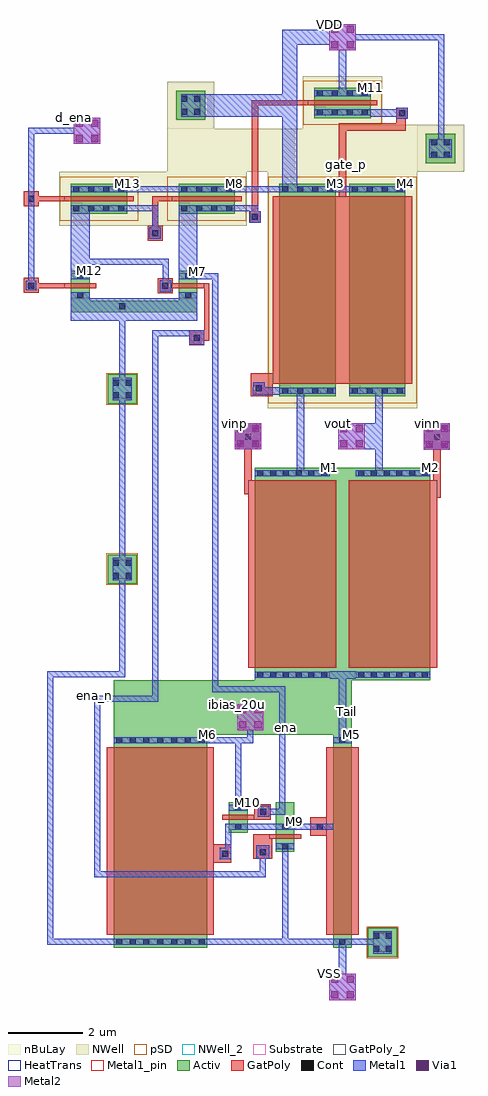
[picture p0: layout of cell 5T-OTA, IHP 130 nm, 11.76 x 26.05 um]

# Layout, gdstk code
from math import pi, radians
import gdstk
lib = gdstk.Library(unit=1e-6, precision=1e-09)
def R(c, l, rs):  # rectangles x0, y0, x1, y1
    for r in rs: c.add(gdstk.rectangle(r[:2], r[2:], *l))
def A(c, l, x, y, w, h, nx, ny, dx, dy):  # array of equal rectangles
    R(c, l, [(x+i*dx, y+j*dy, x+i*dx+w, y+j*dy+h) for i in range(nx) for j in range(ny)])
def P(c, l, *ps):  # polygons
    for p in ps: c.add(gdstk.Polygon(p, *l))
Activ = (1, 0)
GatPoly = (5, 0)
GatPoly_2 = (5, 2)
Cont = (6, 0)
Metal1 = (8, 0)
Metal1_pin = (8, 2)
Metal2 = (10, 0)
pSD = (14, 0)
Via1 = (19, 0)
NWell = (31, 0)
NWell_2 = (31, 2)
nBuLay = (32, 0)
Substrate = (40, 0)
HeatTrans = (51, 0)

vdd = lib.new_cell('VDD')
R(vdd, Metal1, [(-0.35,-0.35,0.35,0.35)])
R(vdd, Metal2, [(-0.35,-0.35,0.35,0.35)])
R(vdd, Via1, [(-0.3,-0.3,-0.11,-0.11), (0.11,-0.3,0.3,-0.11), (-0.3,0.11,-0.11,0.3), (0.11,0.11,0.3,0.3)])

pmos = lib.new_cell('pmos')
R(pmos, Activ, [(0,0,0.3,0.3), (0,0,0.81,1.5), (0.51,0,0.81,0.3)])
R(pmos, GatPoly, [(0.34,-0.18,0.47,1.68), (0.34,-0.18,0.47,1.68)])
A(pmos, Cont, 0.07, 0.07, 0.16, 0.16, 1, 4, 0, 0.4)
A(pmos, Cont, 0.58, 0.07, 0.16, 0.16, 1, 4, 0, 0.4)
R(pmos, Metal1, [(0.07,0,0.23,1.5), (0.07,0,0.23,1.5), (0.58,0,0.74,1.5), (0.58,0,0.74,1.5)])
R(pmos, pSD, [(-0.18,-0.3,0.99,1.8)])
R(pmos, NWell, [(-0.31,-0.31,1.12,1.81)])
R(pmos, Substrate, [(0.51,0,0.81,0.3)])
R(pmos, HeatTrans, [(0.34,-0.18,0.47,1.68)])
pmos.add(gdstk.Label('pmos', (0.405,0.75), layer=63, texttype=0))
pmos.add(gdstk.Label('pmos', (0.405,0.75), layer=51, texttype=0))

pmos_2 = lib.new_cell('pmos$2')
R(pmos_2, Activ, [(0,0,0.3,0.3), (0,0,5.68,1.5), (5.38,0,5.68,0.3)])
R(pmos_2, GatPoly, [(0.34,-0.18,5.34,1.68), (0.34,-0.18,5.34,1.68)])
A(pmos_2, Cont, 0.07, 0.07, 0.16, 0.16, 1, 4, 0, 0.4)
A(pmos_2, Cont, 5.45, 0.07, 0.16, 0.16, 1, 4, 0, 0.4)
R(pmos_2, Metal1, [(0.07,0,0.23,1.5), (0.07,0,0.23,1.5), (5.45,0,5.61,1.5), (5.45,0,5.61,1.5)])
R(pmos_2, pSD, [(-0.18,-0.3,5.86,1.8)])
R(pmos_2, NWell, [(-0.31,-0.31,5.99,1.81)])
R(pmos_2, Substrate, [(5.38,0,5.68,0.3)])
R(pmos_2, HeatTrans, [(0.34,-0.18,5.34,1.68)])
pmos_2.add(gdstk.Label('pmos', (2.84,0.75), layer=63, texttype=0))
pmos_2.add(gdstk.Label('pmos', (2.84,0.75), layer=51, texttype=0))

nmos_1 = lib.new_cell('nmos$1')
R(nmos_1, Activ, [(0,0,0.3,0.3), (0,0,5.68,2), (5.38,0,5.68,0.3)])
R(nmos_1, GatPoly, [(0.34,-0.18,5.34,2.18)])
R(nmos_1, GatPoly_2, [(0.34,-0.18,5.34,2.18)])
A(nmos_1, Cont, 0.07, 0.07, 0.16, 0.16, 1, 6, 0, 0.34)
A(nmos_1, Cont, 5.45, 0.07, 0.16, 0.16, 1, 6, 0, 0.34)
R(nmos_1, Metal1, [(0.07,0,0.23,2), (5.45,0,5.61,2)])
R(nmos_1, Metal1_pin, [(0.07,0,0.23,2), (5.45,0,5.61,2)])
R(nmos_1, HeatTrans, [(0.34,-0.18,5.34,2.18)])
nmos_1.add(gdstk.Label('nmos', (2.84,1), layer=63, texttype=0))
nmos_1.add(gdstk.Label('nmos', (2.84,1), layer=51, texttype=0))

nmos = lib.new_cell('nmos')
R(nmos, Activ, [(0,0,0.3,0.3), (0,0,5.68,2), (5.38,0,5.68,0.3)])
R(nmos, GatPoly, [(0.34,-0.18,5.34,2.18)])
R(nmos, GatPoly_2, [(0.34,-0.18,5.34,2.18)])
A(nmos, Cont, 0.07, 0.07, 0.16, 0.16, 1, 6, 0, 0.34)
A(nmos, Cont, 5.45, 0.07, 0.16, 0.16, 1, 6, 0, 0.34)
R(nmos, Metal1, [(0.07,0,0.23,2), (5.45,0,5.61,2)])
R(nmos, Metal1_pin, [(0.07,0,0.23,2), (5.45,0,5.61,2)])
R(nmos, HeatTrans, [(0.34,-0.18,5.34,2.18)])
nmos.add(gdstk.Label('nmos', (2.84,1), layer=63, texttype=0))
nmos.add(gdstk.Label('nmos', (2.84,1), layer=51, texttype=0))

nmos_3 = lib.new_cell('nmos$3')
R(nmos_3, Activ, [(0,0,0.3,0.3), (0,0,5.68,0.5), (5.38,0,5.68,0.3)])
R(nmos_3, GatPoly, [(0.34,-0.18,5.34,0.68)])
R(nmos_3, GatPoly_2, [(0.34,-0.18,5.34,0.68)])
R(nmos_3, Cont, [(0.07,0.17,0.23,0.33), (5.45,0.17,5.61,0.33)])
R(nmos_3, Metal1, [(0.07,0,0.23,0.5), (5.45,0,5.61,0.5)])
R(nmos_3, Metal1_pin, [(0.07,0,0.23,0.5), (5.45,0,5.61,0.5)])
R(nmos_3, HeatTrans, [(0.34,-0.18,5.34,0.68)])
nmos_3.add(gdstk.Label('nmos', (2.84,0.25), layer=63, texttype=0))
nmos_3.add(gdstk.Label('nmos', (2.84,0.25), layer=51, texttype=0))

nmos_2 = lib.new_cell('nmos$2')
R(nmos_2, Activ, [(0,0,0.3,0.3), (0,0,0.81,0.5), (0.51,0,0.81,0.3)])
R(nmos_2, GatPoly, [(0.34,-0.18,0.47,0.68)])
R(nmos_2, GatPoly_2, [(0.34,-0.18,0.47,0.68)])
R(nmos_2, Cont, [(0.07,0.17,0.23,0.33), (0.58,0.17,0.74,0.33)])
R(nmos_2, Metal1, [(0.07,0,0.23,0.5), (0.58,0,0.74,0.5)])
R(nmos_2, Metal1_pin, [(0.07,0,0.23,0.5), (0.58,0,0.74,0.5)])
R(nmos_2, HeatTrans, [(0.34,-0.18,0.47,0.68)])
nmos_2.add(gdstk.Label('nmos', (0.405,0.25), layer=63, texttype=0))
nmos_2.add(gdstk.Label('nmos', (0.405,0.25), layer=51, texttype=0))

nmos_6 = lib.new_cell('nmos$6')
R(nmos_6, Activ, [(0,0,0.3,0.3), (0,0,5.68,2.5), (5.38,0,5.68,0.3)])
R(nmos_6, GatPoly, [(0.34,-0.18,5.34,2.68)])
R(nmos_6, GatPoly_2, [(0.34,-0.18,5.34,2.68)])
A(nmos_6, Cont, 0.07, 0.07, 0.16, 0.16, 1, 3, 0, 0.365)
A(nmos_6, Cont, 5.45, 0.07, 0.16, 0.16, 1, 3, 0, 0.365)
A(nmos_6, Cont, 0.07, 1.17, 0.16, 0.16, 1, 3, 0, 0.365)
A(nmos_6, Cont, 5.45, 1.17, 0.16, 0.16, 1, 3, 0, 0.365)
R(nmos_6, Cont, [(0.07,2.27,0.23,2.43), (5.45,2.27,5.61,2.43)])
R(nmos_6, Metal1, [(0.07,0,0.23,2.5), (5.45,0,5.61,2.5)])
R(nmos_6, Metal1_pin, [(0.07,0,0.23,2.5), (5.45,0,5.61,2.5)])
R(nmos_6, HeatTrans, [(0.34,-0.18,5.34,2.68)])
nmos_6.add(gdstk.Label('nmos', (2.84,1.25), layer=63, texttype=0))
nmos_6.add(gdstk.Label('nmos', (2.84,1.25), layer=51, texttype=0))

pmos_5 = lib.new_cell('pmos$5')
R(pmos_5, Activ, [(0,0,0.3,0.3), (0,0,0.81,1.5), (0.51,0,0.81,0.3)])
R(pmos_5, GatPoly, [(0.34,-0.18,0.47,1.68), (0.34,-0.18,0.47,1.68)])
A(pmos_5, Cont, 0.07, 0.07, 0.16, 0.16, 1, 4, 0, 0.4)
A(pmos_5, Cont, 0.58, 0.07, 0.16, 0.16, 1, 4, 0, 0.4)
R(pmos_5, Metal1, [(0.07,0,0.23,1.5), (0.07,0,0.23,1.5), (0.58,0,0.74,1.5), (0.58,0,0.74,1.5)])
R(pmos_5, pSD, [(-0.18,-0.3,0.99,1.8)])
R(pmos_5, NWell, [(-0.31,-0.31,1.12,1.81)])
R(pmos_5, Substrate, [(0.51,0,0.81,0.3)])
R(pmos_5, HeatTrans, [(0.34,-0.18,0.47,1.68)])
pmos_5.add(gdstk.Label('pmos', (0.405,0.75), layer=63, texttype=0))
pmos_5.add(gdstk.Label('pmos', (0.405,0.75), layer=51, texttype=0))

pmos_4 = lib.new_cell('pmos$4')
R(pmos_4, Activ, [(0,0,0.3,0.3), (0,0,0.81,1.5), (0.51,0,0.81,0.3)])
R(pmos_4, GatPoly, [(0.34,-0.18,0.47,1.68), (0.34,-0.18,0.47,1.68)])
A(pmos_4, Cont, 0.07, 0.07, 0.16, 0.16, 1, 4, 0, 0.4)
A(pmos_4, Cont, 0.58, 0.07, 0.16, 0.16, 1, 4, 0, 0.4)
R(pmos_4, Metal1, [(0.07,0,0.23,1.5), (0.07,0,0.23,1.5), (0.58,0,0.74,1.5), (0.58,0,0.74,1.5)])
R(pmos_4, pSD, [(-0.18,-0.3,0.99,1.8)])
R(pmos_4, NWell, [(-0.31,-0.31,1.12,1.81)])
R(pmos_4, Substrate, [(0.51,0,0.81,0.3)])
R(pmos_4, HeatTrans, [(0.34,-0.18,0.47,1.68)])
pmos_4.add(gdstk.Label('pmos', (0.405,0.75), layer=63, texttype=0))
pmos_4.add(gdstk.Label('pmos', (0.405,0.75), layer=51, texttype=0))

nmos_7 = lib.new_cell('nmos$7')
R(nmos_7, Activ, [(0,0,0.3,0.3), (0,0,0.81,0.5), (0.51,0,0.81,0.3)])
R(nmos_7, GatPoly, [(0.34,-0.18,0.47,0.68)])
R(nmos_7, GatPoly_2, [(0.34,-0.18,0.47,0.68)])
R(nmos_7, Cont, [(0.07,0.17,0.23,0.33), (0.58,0.17,0.74,0.33)])
R(nmos_7, Metal1, [(0.07,0,0.23,0.5), (0.58,0,0.74,0.5)])
R(nmos_7, Metal1_pin, [(0.07,0,0.23,0.5), (0.58,0,0.74,0.5)])
R(nmos_7, HeatTrans, [(0.34,-0.18,0.47,0.68)])
nmos_7.add(gdstk.Label('nmos', (0.405,0.25), layer=63, texttype=0))
nmos_7.add(gdstk.Label('nmos', (0.405,0.25), layer=51, texttype=0))

nmos_4 = lib.new_cell('nmos$4')
R(nmos_4, Activ, [(0,0,0.3,0.3), (0,0,0.81,0.5), (0.51,0,0.81,0.3)])
R(nmos_4, GatPoly, [(0.34,-0.18,0.47,0.68)])
R(nmos_4, GatPoly_2, [(0.34,-0.18,0.47,0.68)])
R(nmos_4, Cont, [(0.07,0.17,0.23,0.33), (0.58,0.17,0.74,0.33)])
R(nmos_4, Metal1, [(0.07,0,0.23,0.5), (0.58,0,0.74,0.5)])
R(nmos_4, Metal1_pin, [(0.07,0,0.23,0.5), (0.58,0,0.74,0.5)])
R(nmos_4, HeatTrans, [(0.34,-0.18,0.47,0.68)])
nmos_4.add(gdstk.Label('nmos', (0.405,0.25), layer=63, texttype=0))
nmos_4.add(gdstk.Label('nmos', (0.405,0.25), layer=51, texttype=0))

nmos_5 = lib.new_cell('nmos$5')
R(nmos_5, Activ, [(0,0,0.3,0.3), (0,0,0.81,0.5), (0.51,0,0.81,0.3)])
R(nmos_5, GatPoly, [(0.34,-0.18,0.47,0.68)])
R(nmos_5, GatPoly_2, [(0.34,-0.18,0.47,0.68)])
R(nmos_5, Cont, [(0.07,0.17,0.23,0.33), (0.58,0.17,0.74,0.33)])
R(nmos_5, Metal1, [(0.07,0,0.23,0.5), (0.58,0,0.74,0.5)])
R(nmos_5, Metal1_pin, [(0.07,0,0.23,0.5), (0.58,0,0.74,0.5)])
R(nmos_5, HeatTrans, [(0.34,-0.18,0.47,0.68)])
nmos_5.add(gdstk.Label('nmos', (0.405,0.25), layer=63, texttype=0))
nmos_5.add(gdstk.Label('nmos', (0.405,0.25), layer=51, texttype=0))

ntap1 = lib.new_cell('ntap1')
R(ntap1, Activ, [(0,0,0.78,0.78)])
R(ntap1, Cont, [(0.14,0.14,0.3,0.3), (0.48,0.14,0.64,0.3), (0.14,0.48,0.3,0.64), (0.48,0.48,0.64,0.64)])
R(ntap1, Metal1, [(0.14,0.09,0.64,0.69)])
R(ntap1, Metal1_pin, [(0.14,0.09,0.64,0.69), (0.14,0.14,0.64,0.64)])
R(ntap1, NWell, [(-0.24,-0.24,1.02,1.02), (0,0,0.78,0.78)])
R(ntap1, NWell_2, [(0,0,0.78,0.78)])
R(ntap1, nBuLay, [(-0.24,-0.24,1.02,1.02)])
ntap1.add(gdstk.Label('well', (0.39,0.01), layer=31, texttype=0))
ntap1.add(gdstk.Label('well', (0.39,0.01), layer=63, texttype=0))

pmos_3 = lib.new_cell('pmos$3')
R(pmos_3, Activ, [(0,0,0.3,0.3), (0,0,5.68,1.5), (5.38,0,5.68,0.3)])
R(pmos_3, GatPoly, [(0.34,-0.18,5.34,1.68), (0.34,-0.18,5.34,1.68)])
A(pmos_3, Cont, 0.07, 0.07, 0.16, 0.16, 1, 4, 0, 0.4)
A(pmos_3, Cont, 5.45, 0.07, 0.16, 0.16, 1, 4, 0, 0.4)
R(pmos_3, Metal1, [(0.07,0,0.23,1.5), (0.07,0,0.23,1.5), (5.45,0,5.61,1.5), (5.45,0,5.61,1.5)])
R(pmos_3, pSD, [(-0.18,-0.3,5.86,1.8)])
R(pmos_3, NWell, [(-0.31,-0.31,5.99,1.81)])
R(pmos_3, Substrate, [(5.38,0,5.68,0.3)])
R(pmos_3, HeatTrans, [(0.34,-0.18,5.34,1.68)])
pmos_3.add(gdstk.Label('pmos', (2.84,0.75), layer=63, texttype=0))
pmos_3.add(gdstk.Label('pmos', (2.84,0.75), layer=51, texttype=0))

ptap1 = lib.new_cell('ptap1')
R(ptap1, Activ, [(0,0,0.78,0.78)])
R(ptap1, Cont, [(0.14,0.14,0.3,0.3), (0.48,0.14,0.64,0.3), (0.14,0.48,0.3,0.64), (0.48,0.48,0.64,0.64)])
R(ptap1, Metal1, [(0.14,0.09,0.64,0.69), (0.14,0.14,0.64,0.64)])
R(ptap1, Metal1_pin, [(0.14,0.14,0.64,0.64)])
R(ptap1, pSD, [(-0.03,-0.03,0.81,0.81)])
R(ptap1, Substrate, [(0,0,0.78,0.78)])
ptap1.add(gdstk.Label('sub!', (0.39,0.01), layer=63, texttype=0))
ptap1.add(gdstk.Label('sub!', (0.39,0.01), layer=40, texttype=0))

c_5t_ota = lib.new_cell('5T-OTA')
R(c_5t_ota, Activ, [(8.02,-4.93,8.52,-4.42), (3.69,-2.62,9.55,-1.17), (9.55,-2.62,10.05,-1.17), (9.46,-1.17,10.15,4.51), (2.55,8.65,5.93,8.96)])
R(c_5t_ota, GatPoly, [(6.37,-6.04,6.83,-5.54), (7.42,-5.93,7.92,-5.27), (8.935,-5.32,9.435,-4.82), (7.45,-4.89,7.89,-4.47), (11.97,4.99,12.67,5.69), (6.93,5,7.63,5.7), (7.35,6.41,7.94,7.03), (5.71,7.78,6.11,8.18), (6.11,7.9,6.24,9.43), (4.87,9.165,5.27,9.565), (1.295,9.175,1.695,9.575), (1.41,9.3,2.37,9.43), (4.6,10.57,5,10.97), (7.31,11.045,7.62,11.355), (7.38,11.35,7.55,14.18), (1.3,11.48,1.7,11.88), (1.41,11.62,2.37,11.75), (11.24,13.7,11.29,13.82), (11.24,13.82,11.54,14.12), (7.38,14.18,8.87,14.31)])
P(c_5t_ota, GatPoly, [(4.72,10.69),(4.72,11.75),(5.25,11.75),(5.25,11.62),(4.88,11.62),(4.88,10.69)])
R(c_5t_ota, Cont, [(6.59,-5.88,6.75,-5.72), (7.59,-5.84,7.75,-5.68), (9.11,-5.16,9.27,-5), (7.6,-4.76,7.76,-4.6), (12.25,5.235,12.41,5.395), (7.2,5.255,7.36,5.415), (7.49,6.55,7.65,6.71), (5.835,7.9,5.995,8.06), (3.84,8.73,4,8.89), (4.995,9.285,5.155,9.445), (1.41,9.29,1.57,9.45), (4.72,10.69,4.88,10.85), (7.385,11.12,7.545,11.28), (1.41,11.6,1.57,11.76), (11.31,13.89,11.47,14.05)])
R(c_5t_ota, Metal1, [(6.53,-5.94,6.83,-5.64), (7.5,-5.93,7.84,-5.57), (7.54,-4.81,7.84,-4.51), (7.6,-4.76,7.76,-4.6), (10.39,5,10.67,5.7), (7.42,6.49,7.72,6.79), (5.71,7.785,6.11,8.18), (2.55,8.43,3.84,9.03), (4,8.43,5.93,9.03), (4.925,9.21,5.225,9.51), (1.35,9.24,1.63,9.5), (2.55,9.7,3.05,11.35), (5.43,9.7,5.93,11.35), (4.65,10.62,4.95,10.92), (7.32,11.05,7.62,11.35), (9.62,11.86,9.98,12.02), (11.24,13.82,11.54,14.12), (11.24,13.82,11.54,14.12), (11.24,13.82,11.54,14.12), (6,13.88,8.2,14.48)])
R(c_5t_ota, NWell, [(4.36,10.97,5.12,12.4), (5.12,12.4,8.74,13.55), (8.74,12.4,10.86,13.53), (10.86,12.4,11.79,13.66)])
c_5t_ota.add(gdstk.FlexPath([(5.08,9.51),(5.08,10),(3.05,10),(3.05,10)], 0.16, ends="flush", simple_path=True, layer=8, datatype=0))  # Metal1
c_5t_ota.add(gdstk.FlexPath([(4.81,7.88),(4.81,8.1),(5.71,8.1),(5.71,8.1)], 0.16, ends="flush", simple_path=True, layer=8, datatype=0))  # Metal1
c_5t_ota.add(gdstk.FlexPath([(10.15,16),(12.44,16),(12.44,13.28),(12.44,13.28)], 0.16, ends="flush", simple_path=True, layer=8, datatype=0))  # Metal1
c_5t_ota.add(gdstk.FlexPath([(10.05,-8.15),(10.62,-8.15)], 0.16, ends="flush", simple_path=True, layer=8, datatype=0))  # Metal1
c_5t_ota.add(gdstk.FlexPath([(9.8,15.65),(9.8,14.42),(9.8,14.42)], 0.2, ends="flush", simple_path=True, layer=8, datatype=0))  # Metal1
c_5t_ota.add(gdstk.FlexPath([(9.45,16),(8.4,16),(8.4,12.02),(8.4,12.02),(8.4,12.02)], 0.4, ends="flush", simple_path=True, layer=8, datatype=0))  # Metal1
c_5t_ota.add(gdstk.FlexPath([(10.55,13.97),(11.49,13.97)], 0.2, ends="flush", simple_path=True, layer=8, datatype=0))  # Metal1
c_5t_ota.add(gdstk.FlexPath([(8.12,6.56),(7.4,6.56),(7.4,6.56),(7.4,6.56),(7.4,6.56)], 0.2, ends="flush", simple_path=True, layer=8, datatype=0))  # Metal1
c_5t_ota.add(gdstk.FlexPath([(10.77,6.48),(10.77,4.44),(10.77,4.44)], 0.2, ends="flush", simple_path=True, layer=8, datatype=0))  # Metal1
c_5t_ota.add(gdstk.FlexPath([(8.68,6.48),(8.68,4.43),(8.68,4.43)], 0.2, ends="flush", simple_path=True, layer=8, datatype=0))  # Metal1
c_5t_ota.add(gdstk.FlexPath([(10.15,-1.02),(9.46,-1.02)], 0.2, ends="flush", simple_path=True, layer=8, datatype=0))  # Metal1
c_5t_ota.add(gdstk.FlexPath([(9.8,-1.12),(9.8,-2.85),(9.8,-2.85)], 0.2, ends="flush", simple_path=True, layer=8, datatype=0))  # Metal1
c_5t_ota.add(gdstk.FlexPath([(9.8,-9),(9.8,-8.23)], 0.2, ends="flush", simple_path=True, layer=8, datatype=0))  # Metal1
c_5t_ota.add(gdstk.FlexPath([(8.52,-5.08),(9.55,-5.08)], 0.16, ends="flush", simple_path=True, layer=8, datatype=0))  # Metal1
c_5t_ota.add(gdstk.FlexPath([(8.27,-5.67),(8.27,-8.15),(9.55,-8.15)], 0.16, ends="flush", simple_path=True, layer=8, datatype=0))  # Metal1
c_5t_ota.add(gdstk.FlexPath([(8.19,-8.15),(6.19,-8.15)], 0.16, ends="flush", simple_path=True, layer=8, datatype=0))  # Metal1
c_5t_ota.add(gdstk.FlexPath([(7.34,-2.77),(7.34,-2.5)], 0.16, ends="flush", simple_path=True, layer=8, datatype=0))  # Metal1
c_5t_ota.add(gdstk.FlexPath([(8.12,11.94),(6.93,11.94)], 0.16, ends="flush", simple_path=True, layer=8, datatype=0))  # Metal1
c_5t_ota.add(gdstk.FlexPath([(5.43,11.94),(4.05,11.94),(4.05,11.94)], 0.16, ends="flush", simple_path=True, layer=8, datatype=0))  # Metal1
c_5t_ota.add(gdstk.FlexPath([(6.93,11.43),(7.55,11.43)], 0.16, ends="flush", simple_path=True, layer=8, datatype=0))  # Metal1
c_5t_ota.add(gdstk.FlexPath([(4.05,11.43),(4.8,11.43),(4.8,10.69)], 0.16, ends="flush", simple_path=True, layer=8, datatype=0))  # Metal1
c_5t_ota.add(gdstk.FlexPath([(4.81,6.92),(4.81,7.88)], 0.16, ends="flush", simple_path=True, layer=8, datatype=0))  # Metal1
c_5t_ota.add(gdstk.FlexPath([(6.4,6.2),(6.4,-1.44)], 0.16, ends="flush", simple_path=True, layer=8, datatype=0))  # Metal1
c_5t_ota.add(gdstk.FlexPath([(3.92,8.43),(3.92,9.03)], 0.16, ends="flush", simple_path=True, layer=8, datatype=0))  # Metal1
c_5t_ota.add(gdstk.FlexPath([(3.92,8.43),(3.92,-1),(2,-1),(2,-8.15),(3.69,-8.15)], 0.16, ends="flush", simple_path=True, layer=8, datatype=0))  # Metal1
c_5t_ota.add(gdstk.FlexPath([(6.32,-1.4),(8.2,-1.4),(8.2,-3)], 0.16, ends="flush", simple_path=True, layer=8, datatype=0))  # Metal1
c_5t_ota.add(gdstk.FlexPath([(8.2,-3),(8.2,-4.68),(7.76,-4.68)], 0.16, ends="flush", simple_path=True, layer=8, datatype=0))  # Metal1
c_5t_ota.add(gdstk.FlexPath([(6.59,-5.8),(6.75,-5.8),(6.75,-5)], 0.16, ends="flush", simple_path=True, layer=8, datatype=0))  # Metal1
c_5t_ota.add(gdstk.FlexPath([(7.02,-4.49),(7.02,-2.77),(6.19,-2.77)], 0.16, ends="flush", simple_path=True, layer=8, datatype=0))  # Metal1
c_5t_ota.add(gdstk.FlexPath([(7.42,-2.77),(7.02,-2.77)], 0.16, ends="flush", simple_path=True, layer=8, datatype=0))  # Metal1
c_5t_ota.add(gdstk.FlexPath([(7.27,-5.08),(8.02,-5.08)], 0.16, ends="flush", simple_path=True, layer=8, datatype=0))  # Metal1
c_5t_ota.add(gdstk.FlexPath([(6.4,6.2),(6.4,9.62),(5.93,9.62)], 0.16, ends="flush", simple_path=True, layer=8, datatype=0))  # Metal1
c_5t_ota.add(gdstk.FlexPath([(1.49,9.29),(1.49,13.5),(2.63,13.5)], 0.16, ends="flush", simple_path=True, layer=8, datatype=0))  # Metal1
c_5t_ota.add(gdstk.FlexPath([(7.67,-5.93),(7.67,-6.35),(3.25,-6.35),(3.25,-1.66),(4.81,-1.66),(4.81,6.92)], 0.16, ends="flush", simple_path=True, layer=8, datatype=0))  # Metal1
c_5t_ota.add(gdstk.FlexPath([(9.8,11.75),(9.8,13.6),(11.39,13.6),(11.39,14.07)], 0.2, ends="flush", simple_path=True, layer=5, datatype=0))  # GatPoly
c_5t_ota.add(gdstk.FlexPath([(7.28,5.7),(7.28,3.8)], 0.2, ends="flush", simple_path=True, layer=5, datatype=0))  # GatPoly
c_5t_ota.add(gdstk.FlexPath([(12.33,5.61),(12.33,3.71)], 0.2, ends="flush", simple_path=True, layer=5, datatype=0))  # GatPoly
c_5t_ota.add(gdstk.Reference(vdd, (9.8,16), rotation=3*pi/2))
c_5t_ota.add(gdstk.Reference(pmos, (9.05,14.65), rotation=3*pi/2))
c_5t_ota.add(gdstk.Reference(pmos_2, (8.12,12.09), rotation=3*pi/2))
c_5t_ota.add(gdstk.Reference(nmos_1, (7.46,4.51), rotation=3*pi/2))
c_5t_ota.add(gdstk.Reference(nmos, (10.15,4.51), rotation=3*pi/2))
c_5t_ota.add(gdstk.Reference(vdd, (10.04,5.35), rotation=3*pi/2))
c_5t_ota.add(gdstk.Reference(vdd, (7.28,5.35), rotation=3*pi/2))
c_5t_ota.add(gdstk.Reference(nmos_3, (9.55,-2.62), rotation=3*pi/2))
c_5t_ota.add(gdstk.Reference(vdd, (9.8,-9.35), rotation=3*pi/2))
c_5t_ota.add(gdstk.Reference(nmos_2, (8.02,-4.93), rotation=3*pi/2))
c_5t_ota.add(gdstk.Reference(nmos_6, (3.69,-2.62), rotation=3*pi/2))
c_5t_ota.add(gdstk.Reference(vdd, (7.34,-2.15), rotation=3*pi/2))
c_5t_ota.add(gdstk.Reference(pmos_5, (5.43,12.09), rotation=3*pi/2))
c_5t_ota.add(gdstk.Reference(pmos_4, (2.55,12.09), rotation=3*pi/2))
c_5t_ota.add(gdstk.Reference(nmos_7, (5.43,9.77), rotation=3*pi/2))
c_5t_ota.add(gdstk.Reference(nmos_4, (2.55,9.77), rotation=3*pi/2))
c_5t_ota.add(gdstk.Reference(nmos_5, (6.77,-4.42), rotation=3*pi/2))
c_5t_ota.add(gdstk.Reference(vdd, (12.32,5.34), rotation=3*pi/2))
c_5t_ota.add(gdstk.Reference(vdd, (2.98,13.5), rotation=3*pi/2))
c_5t_ota.add(gdstk.Reference(ntap1, (12.81,12.64), rotation=pi/2))
c_5t_ota.add(gdstk.Reference(pmos_3, (9.98,12.09), rotation=3*pi/2))
c_5t_ota.add(gdstk.Reference(ptap1, (10.48,-8.55)))
c_5t_ota.add(gdstk.Reference(ptap1, (3.53,1.41)))
c_5t_ota.add(gdstk.Reference(ptap1, (3.53,6.22)))
c_5t_ota.add(gdstk.Reference(ntap1, (5.36,13.79)))
c_5t_ota.add(gdstk.Label('M11', (10.55,14.65), layer=63, texttype=0))
c_5t_ota.add(gdstk.Label('M11', (10.55,14.65), layer=63, texttype=0))
c_5t_ota.add(gdstk.Label('M3', (9.62,12.09), layer=63, texttype=0))
c_5t_ota.add(gdstk.Label('M4', (11.48,12.09), layer=63, texttype=0))
c_5t_ota.add(gdstk.Label('M1', (9.46,4.51), layer=63, texttype=0))
c_5t_ota.add(gdstk.Label('M2', (12.15,4.51), layer=63, texttype=0))
c_5t_ota.add(gdstk.Label('M5', (10.05,-2.615), layer=63, texttype=0))
c_5t_ota.add(gdstk.Label('M9', (8.52,-4.925), layer=63, texttype=0))
c_5t_ota.add(gdstk.Label('M10', (7.27,-4.42), layer=63, texttype=0))
c_5t_ota.add(gdstk.Label('M6', (6.19,-2.62), layer=63, texttype=0))
c_5t_ota.add(gdstk.Label('M7', (5.93,9.755), layer=63, texttype=0))
c_5t_ota.add(gdstk.Label('M12', (3.05,9.77), layer=63, texttype=0))
c_5t_ota.add(gdstk.Label('M8', (6.93,12.09), layer=63, texttype=0))
c_5t_ota.add(gdstk.Label('M13', (4.05,12.09), layer=63, texttype=0))
c_5t_ota.add(gdstk.Label('VDD', (9.45,16.35), layer=63, texttype=0))
c_5t_ota.add(gdstk.Label('gate_p', (9.9,12.59), layer=63, texttype=0))
c_5t_ota.add(gdstk.Label('vout', (9.7,5.7), layer=63, texttype=0))
c_5t_ota.add(gdstk.Label('vinp', (6.93,5.7), layer=63, texttype=0))
c_5t_ota.add(gdstk.Label('Tail', (9.9,-1.99), layer=63, texttype=0))
c_5t_ota.add(gdstk.Label('VSS', (9.45,-9), layer=63, texttype=0))
c_5t_ota.add(gdstk.Label('gate_n', (8.9,-4.99), layer=63, texttype=0))
c_5t_ota.add(gdstk.Label('ibias_20u', (6.99,-1.8), layer=63, texttype=0))
c_5t_ota.add(gdstk.Label('ena', (8.28,-2.44), layer=63, texttype=0))
c_5t_ota.add(gdstk.Label('vinn', (12.07,5.69), layer=63, texttype=0))
c_5t_ota.add(gdstk.Label('d_ena', (2.63,13.85), layer=63, texttype=0))
c_5t_ota.add(gdstk.Label('ena_n', (3.17,-1.58), layer=63, texttype=0))

lib.write_gds('5T-OTA.gds')
